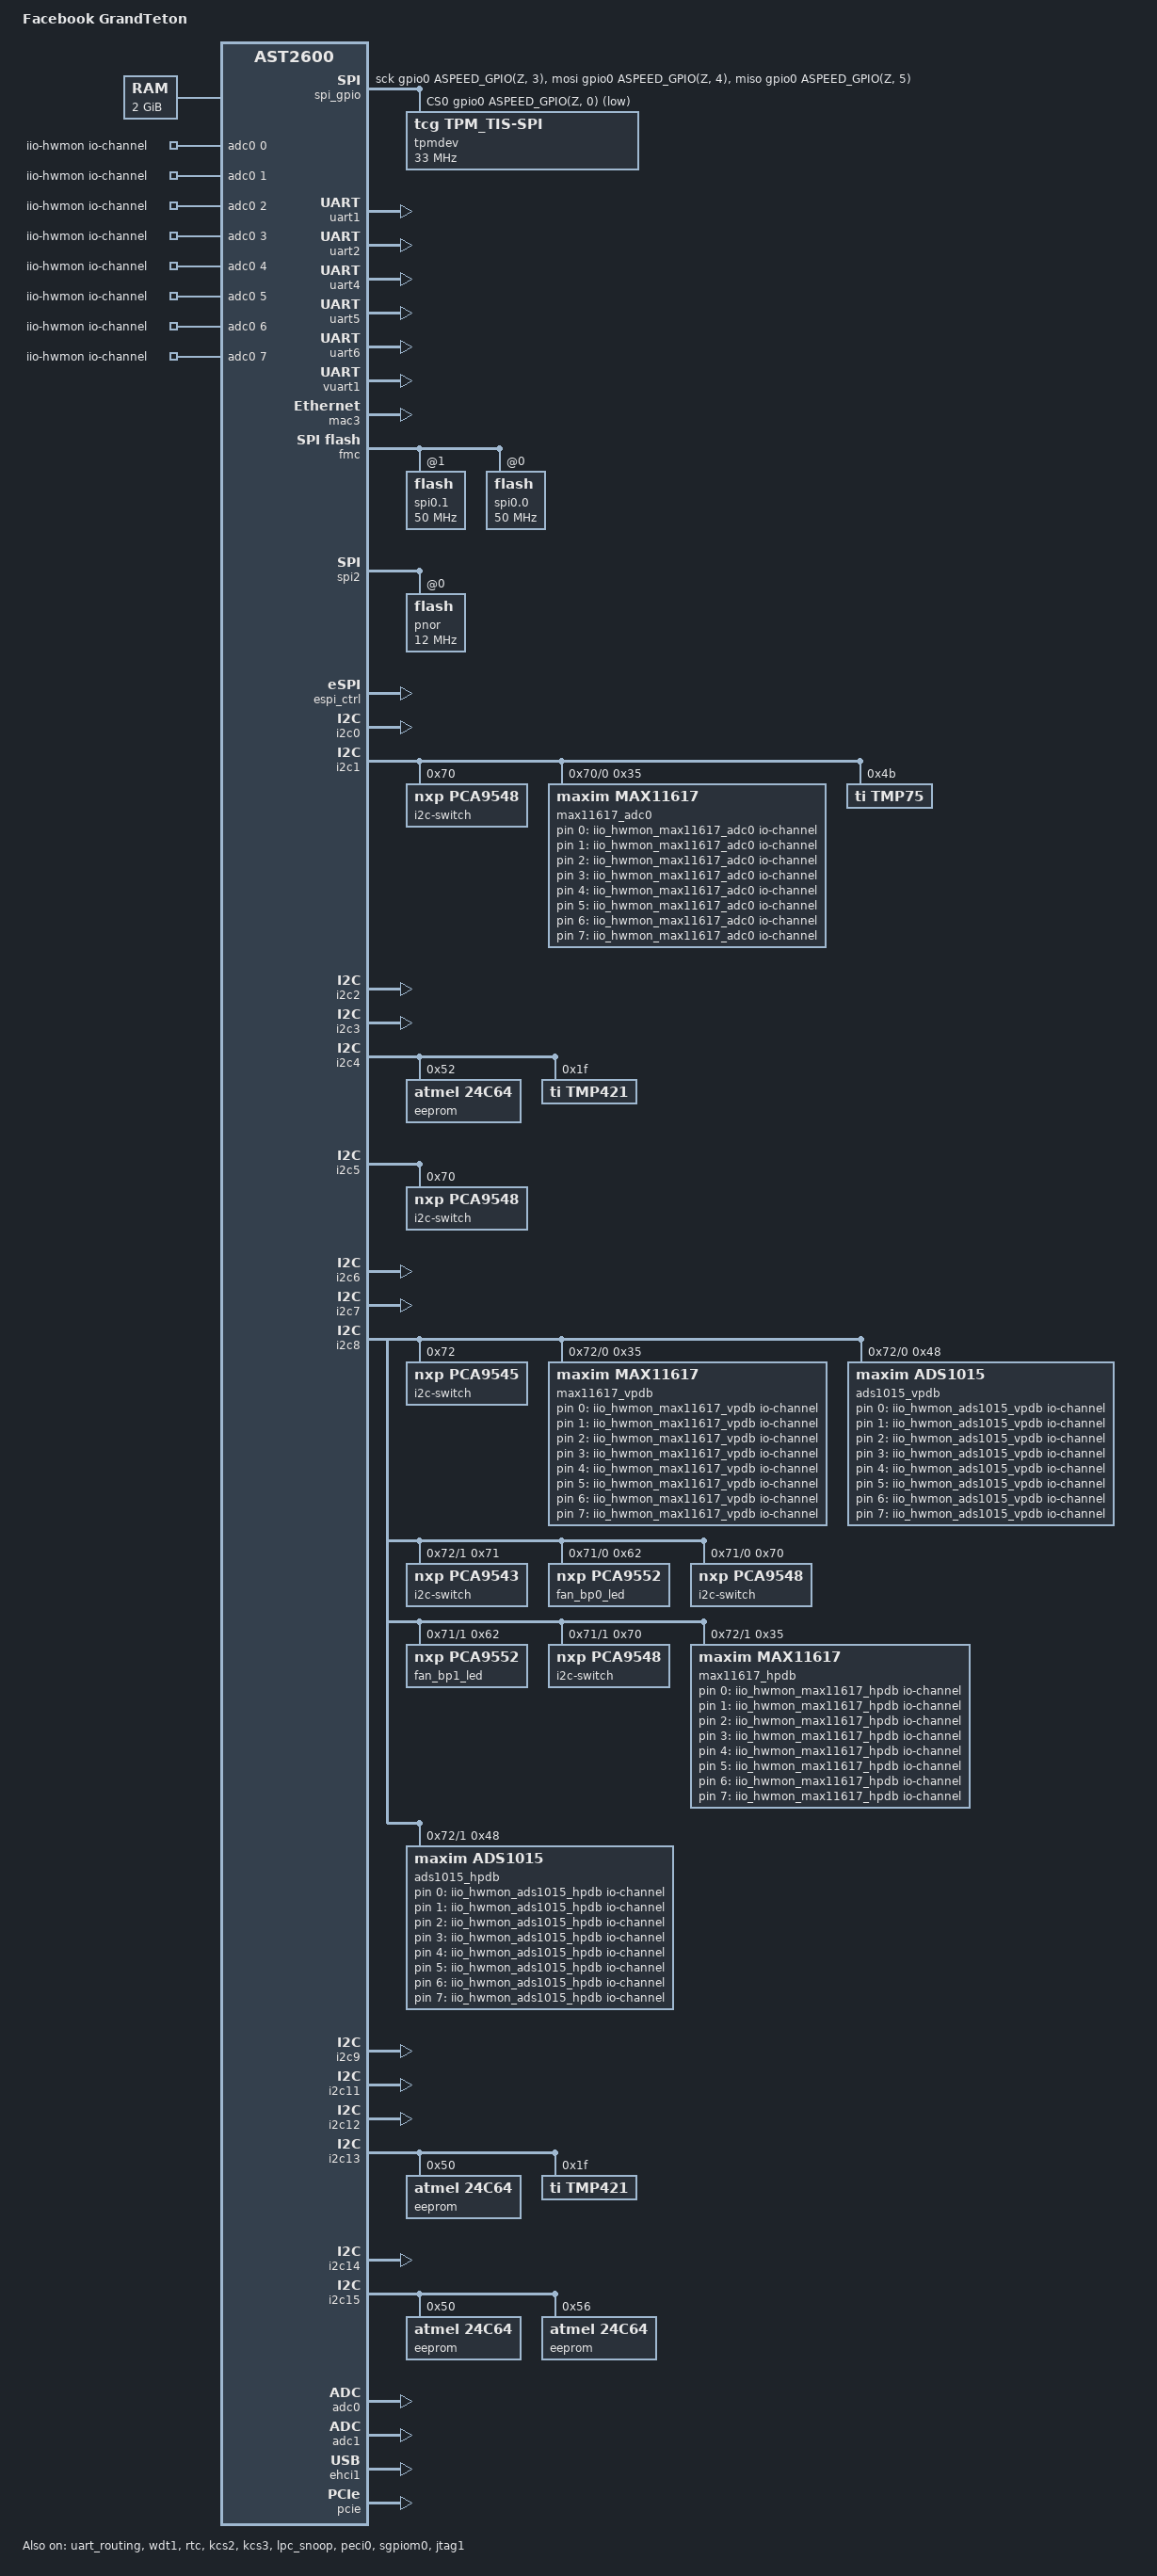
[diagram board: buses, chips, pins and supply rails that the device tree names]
// SPDX-License-Identifier: GPL-2.0-or-later
// Copyright (c) 2020 Facebook Inc.

/dts-v1/;

#include "aspeed-g6.dtsi"
#include <dt-bindings/gpio/aspeed-gpio.h>
#include <dt-bindings/leds/leds-pca955x.h>

/ {
	model = "Facebook GrandTeton";
	compatible = "facebook,grandteton", "aspeed,ast2600";

	aliases {
		serial0 = &uart5;
		serial1 = &uart1;

		spi1 = &spi_gpio;

		i2c20 = &imux20;
		i2c21 = &imux21;
		i2c22 = &imux22;
		i2c23 = &imux23;
		i2c24 = &imux24;
		i2c25 = &imux25;
		i2c26 = &imux26;
		i2c27 = &imux27;
		i2c28 = &imux28;
		i2c29 = &imux29;
		i2c30 = &imux30;
		i2c31 = &imux31;
		i2c32 = &imux32;
		i2c33 = &imux33;
		i2c34 = &imux34;
		i2c35 = &imux35;
		i2c36 = &imux36;
		i2c37 = &imux37;
		i2c38 = &imux38;
		i2c39 = &imux39;
		i2c40 = &imux40;
		i2c41 = &imux41;
		i2c42 = &imux42;
		i2c43 = &imux43;
		i2c44 = &imux44;
		i2c45 = &imux45;
		i2c46 = &imux46;
		i2c47 = &imux47;
		i2c48 = &imux48;
		i2c49 = &imux49;
		i2c50 = &imux50;
		i2c51 = &imux51;
		i2c52 = &imux52;
		i2c53 = &imux53;
		i2c54 = &imux54;
		i2c55 = &imux55;
		i2c56 = &imux56;
		i2c57 = &imux57;
	};

	chosen {
		stdout-path = &uart5;
		bootargs = "console=ttyS0,57600n8 root=/dev/ram rw vmalloc=384M";
	};

	memory@80000000 {
		device_type = "memory";
		reg = <0x80000000 0x80000000>;
	};

	iio-hwmon {
		compatible = "iio-hwmon";
		io-channels = <&adc0 0>, <&adc0 1>, <&adc0 2>, <&adc0 3>,
			<&adc0 4>, <&adc0 5>, <&adc0 6>, <&adc0 7>,
			<&adc1 2>;
	};

	iio_hwmon_max11617_adc0 {
		compatible = "iio-hwmon";
		io-channels = <&max11617_adc0 0>, <&max11617_adc0 1>, <&max11617_adc0 2>, <&max11617_adc0 3>,
			<&max11617_adc0 4>, <&max11617_adc0 5>, <&max11617_adc0 6>, <&max11617_adc0 7>,
			<&max11617_adc0 8>, <&max11617_adc0 9>, <&max11617_adc0 10>, <&max11617_adc0 11>,
			<&max11617_adc0 12>, <&max11617_adc0 13>, <&max11617_adc0 14>, <&max11617_adc0 15>,
			<&max11617_adc0 16>, <&max11617_adc0 17>, <&max11617_adc0 18>, <&max11617_adc0 19>,
			<&max11617_adc0 20>, <&max11617_adc0 21>, <&max11617_adc0 22>, <&max11617_adc0 23>;
	};

	iio_hwmon_max11617_hpdb {
		compatible = "iio-hwmon";
		io-channels = <&max11617_hpdb 0>, <&max11617_hpdb 1>, <&max11617_hpdb 2>, <&max11617_hpdb 3>,
			<&max11617_hpdb 4>, <&max11617_hpdb 5>, <&max11617_hpdb 6>, <&max11617_hpdb 7>,
			<&max11617_hpdb 8>, <&max11617_hpdb 9>, <&max11617_hpdb 10>, <&max11617_hpdb 11>,
			<&max11617_hpdb 12>, <&max11617_hpdb 13>, <&max11617_hpdb 14>, <&max11617_hpdb 15>,
			<&max11617_hpdb 16>, <&max11617_hpdb 17>, <&max11617_hpdb 18>, <&max11617_hpdb 19>,
			<&max11617_hpdb 20>, <&max11617_hpdb 21>, <&max11617_hpdb 22>, <&max11617_hpdb 23>;
	};

	iio_hwmon_max11617_vpdb {
		compatible = "iio-hwmon";
		io-channels = <&max11617_vpdb 0>, <&max11617_vpdb 1>, <&max11617_vpdb 2>, <&max11617_vpdb 3>,
			<&max11617_vpdb 4>, <&max11617_vpdb 5>, <&max11617_vpdb 6>, <&max11617_vpdb 7>,
			<&max11617_vpdb 8>, <&max11617_vpdb 9>, <&max11617_vpdb 10>, <&max11617_vpdb 11>,
			<&max11617_vpdb 12>, <&max11617_vpdb 13>, <&max11617_vpdb 14>, <&max11617_vpdb 15>,
			<&max11617_vpdb 16>, <&max11617_vpdb 17>, <&max11617_vpdb 18>, <&max11617_vpdb 19>,
			<&max11617_vpdb 20>, <&max11617_vpdb 21>, <&max11617_vpdb 22>, <&max11617_vpdb 23>;
	};

	iio_hwmon_ads1015_vpdb {
		compatible = "iio-hwmon";
		io-channels = <&ads1015_vpdb 0>, <&ads1015_vpdb 1>, <&ads1015_vpdb 2>, <&ads1015_vpdb 3>,
			<&ads1015_vpdb 4>, <&ads1015_vpdb 5>, <&ads1015_vpdb 6>, <&ads1015_vpdb 7>;
	};

	iio_hwmon_ads1015_hpdb {
		compatible = "iio-hwmon";
		io-channels = <&ads1015_hpdb 0>, <&ads1015_hpdb 1>, <&ads1015_hpdb 2>, <&ads1015_hpdb 3>,
			<&ads1015_hpdb 4>, <&ads1015_hpdb 5>, <&ads1015_hpdb 6>, <&ads1015_hpdb 7>;
	};

	spi_gpio: spi-gpio {
		status = "okay";
		compatible = "spi-gpio";
		#address-cells = <1>;
		#size-cells = <0>;

		gpio-sck = <&gpio0 ASPEED_GPIO(Z, 3) GPIO_ACTIVE_HIGH>;
		gpio-mosi = <&gpio0 ASPEED_GPIO(Z, 4) GPIO_ACTIVE_HIGH>;
		gpio-miso = <&gpio0 ASPEED_GPIO(Z, 5) GPIO_ACTIVE_HIGH>;
		num-chipselects = <1>;
		cs-gpios = <&gpio0 ASPEED_GPIO(Z, 0) GPIO_ACTIVE_LOW>;

		tpmdev@0 {
			compatible = "tcg,tpm_tis-spi";
			spi-max-frequency = <33000000>;
			reg = <0>;
		};
	};


};

&uart1 {
	status = "okay";
};

&uart2 {
	// SOL Host Console
	status = "okay";
	pinctrl-0 = <>;

};

&uart4 {
	// SOL BMC Console
	status = "okay";
	pinctrl-0 = <>;
};

&uart5 {
	status = "okay";
	/* Workaround for AST2600 A0 */
	compatible = "snps,dw-apb-uart";
};

&uart6 {
	// SWB Console
	status = "okay";
};

&uart_routing {
	status = "okay";
};

&vuart1 {
	status = "okay";
	virtual;
	port=<0x3e8>;
	sirq = <7>;
	sirq-polarity = <0>;
	dma-mode;
	dma-channel = <12>;
};

&wdt1 {
	status = "okay";
	pinctrl-names = "default";
	pinctrl-0 = <&pinctrl_wdtrst1_default>;
	aspeed,reset-type = "soc";
	aspeed,external-signal;
	aspeed,ext-push-pull;
	aspeed,ext-active-high;
	aspeed,ext-pulse-duration = <256>;
};

&mac3 {
	status = "okay";

	pinctrl-names = "default";
	pinctrl-0 = <&pinctrl_rmii4_default>;
	no-hw-checksum;
	use-ncsi;
	ncsi-ctrl,start-redo-probe;
	ncsi-ctrl,no-channel-monitor;
	mlx,multi-host;
	ncsi-package = <1>;
	ncsi-channel = <1>;
	ncsi-rexmit = <1>;
	ncsi-timeout = <2>;
};

&rtc {
	status = "okay";
};

&fmc {
	status = "okay";
	flash@0 {
		reg = < 1 >;
		status = "okay";
		m25p,fast-read;
		label = "spi0.1";
		spi-max-frequency = <50000000>;
#include "facebook-bmc-vboot2-flash1-32MBdata0-layout.dtsi"
	};
	flash@1 {
		reg = < 0 >;
		status = "okay";
		m25p,fast-read;
		label = "spi0.0";
		spi-max-frequency = <50000000>;
#include "facebook-bmc-vboot2-flash0-layout.dtsi"
	};
};

&spi2 {
	status = "okay";
	pinctrl-names = "default";
	pinctrl-0 = <&pinctrl_spi2_default>;

	flash@0 {
		status = "okay";
		m25p,fast-read;
		label = "pnor";
		spi-max-frequency = <12000000>;
		spi-tx-bus-width = <2>;
		spi-rx-bus-width = <2>;
	};
};

&kcs2 {
	kcs_addr = <0xca8>;
	status = "okay";
};

&kcs3 {
	kcs_addr = <0xca2>;
	status = "okay";
};

&lpc_snoop {
	status = "okay";
	snoop-ports = <0x80>;
};

//eSPI
&espi_ctrl {
	status = "okay";

	perif,memcyc-src-addr = <0x98000000>;
	perif,memcyc-size = <0x10000>;
	perif,dma-mode;

	oob,dma-mode;
	oob,dma-tx-desc-num = <0x2>;
	oob,dma-rx-desc-num = <0x8>;

	flash,dma-mode;
	flash,safs-mode = <0x2>;
};

&peci0 {
	status = "okay";
	clock-frequency = <1000000>;
};

&sgpiom0 {
	status = "okay";
	gpio-ranges = <&pinctrl 0 244 128>;
	ngpios = <128>;
	base = <244>;
	bus-frequency = <2000000>;
};

&i2c0 {
	status = "okay";
};

&i2c1 {
	status = "okay";
	i2c-switch@70 {
		compatible = "nxp,pca9548";
		#address-cells = <1>;
		#size-cells = <0>;
		reg = <0x70>;
		imux20: i2c@0 {
			#address-cells = <1>;
			#size-cells = <0>;
			reg = <0>;
			max11617_adc0:adc@35 {
				compatible = "maxim,max11617";
				reg = <0x35>;
				#io-channel-cells = <1>;
			};
		};
		imux21: i2c@1 {
			#address-cells = <1>;
			#size-cells = <0>;
			reg = <1>;
		};
		imux22: i2c@2 {
			#address-cells = <1>;
			#size-cells = <0>;
			reg = <2>;
		};
		imux23: i2c@3 {
			#address-cells = <1>;
			#size-cells = <0>;
			reg = <3>;
		};
		imux24: i2c@4 {
			#address-cells = <1>;
			#size-cells = <0>;
			reg = <4>;
		};
		imux25: i2c@5 {
			#address-cells = <1>;
			#size-cells = <0>;
			reg = <5>;
		};
		imux26: i2c@6 {
			#address-cells = <1>;
			#size-cells = <0>;
			reg = <6>;
		};
		imux27: i2c@7 {
			#address-cells = <1>;
			#size-cells = <0>;
			reg = <7>;
		};
	};
	tmp75@4B {
		compatible = "ti,tmp75";
		reg = <0x4B>;
	};
};

&i2c2 {
	status = "okay";
};

//To BIC
&i2c3 {
	status = "okay";
	multi-master;
	bus-frequency = <400000>;
	aspeed,hw-timeout-ms = <1000>;
	base-clock-divisor = <4>;
	tck-high = <5>;
	tck-low = <10>;
};

&i2c4 {
	status = "okay";
	multi-master;
	aspeed,hw-timeout-ms = <1000>;
	// NIC1 FRU
	eeprom@52 {
		compatible = "atmel,24c64";
		reg = <0x52>;
	};
	tmp421@1F {
		compatible = "ti,tmp421";
		reg = <0x1F>;
	};
};

&i2c5 {
	status = "okay";
	i2c-switch@70 {
		compatible = "nxp,pca9548";
		#address-cells = <1>;
		#size-cells = <0>;
		reg = <0x70>;
		imux28: i2c@0 {
			#address-cells = <1>;
			#size-cells = <0>;
			reg = <0>;
		};
		imux29: i2c@1 {
			#address-cells = <1>;
			#size-cells = <0>;
			reg = <1>;
		};
		imux30: i2c@2 {
			#address-cells = <1>;
			#size-cells = <0>;
			reg = <2>;
		};
		imux31: i2c@3 {
			#address-cells = <1>;
			#size-cells = <0>;
			reg = <3>;
		};
		imux32: i2c@4 {
			#address-cells = <1>;
			#size-cells = <0>;
			reg = <4>;
		};
		imux33: i2c@5 {
			#address-cells = <1>;
			#size-cells = <0>;
			reg = <5>;
		};
		imux34: i2c@6 {
			#address-cells = <1>;
			#size-cells = <0>;
			reg = <6>;
		};
		imux35: i2c@7 {
			#address-cells = <1>;
			#size-cells = <0>;
			reg = <7>;
		};
	};
};

//To Me
&i2c6 {
	status = "okay";
	multi-master;
	bus-frequency = <400000>;
	aspeed,hw-timeout-ms = <1000>;
};

// To FPGA
&i2c7 {
	status = "okay";
};

// To PDB
&i2c8 {
	status = "okay";
	i2c-switch@72 {
		compatible = "nxp,pca9545";
		#address-cells = <1>;
		#size-cells = <0>;
		reg = <0x72>;
		imux36: i2c@0 {
			#address-cells = <1>;
			#size-cells = <0>;
			reg = <0>;
			max11617_vpdb:adc@35 {
				compatible = "maxim,max11617";
				reg = <0x35>;
				#io-channel-cells = <1>;
			};
			ads1015_vpdb:adc@48 {
				compatible = "maxim,ads1015";
				reg = <0x48>;
				#io-channel-cells = <1>;
			};
		};
		imux37: i2c@1 {
			#address-cells = <1>;
			#size-cells = <0>;
			reg = <1>;
			status = "okay";
			i2c-switch@71 {
				compatible = "nxp,pca9543";
				#address-cells = <1>;
				#size-cells = <0>;
				reg = <0x71>;
				imux40: i2c@0 {
					#address-cells = <1>;
					#size-cells = <0>;
					reg = <0>;
					fan_bp0_led: pca9552@62 {
						compatible = "nxp,pca9552";
						reg = <0x62>;
						#address-cells = <1>;
						#size-cells = <0>;
						gpio-controller;
						#gpio-cells = <2>;
						gpio@0 {
							reg = <0>;
							type = <PCA955X_TYPE_GPIO>;
						};
						gpio@1 {
							reg = <1>;
							type = <PCA955X_TYPE_GPIO>;
						};
						gpio@2 {
							reg = <2>;
							type = <PCA955X_TYPE_GPIO>;
						};
						gpio@3 {
							reg = <3>;
							type = <PCA955X_TYPE_GPIO>;
						};
						gpio@4 {
							reg = <4>;
							type = <PCA955X_TYPE_GPIO>;
						};
						gpio@5 {
							reg = <5>;
							type = <PCA955X_TYPE_GPIO>;
						};
						gpio@6 {
							reg = <6>;
							type = <PCA955X_TYPE_GPIO>;
						};
						gpio@7 {
							reg = <7>;
							type = <PCA955X_TYPE_GPIO>;
						};
						gpio@8 {
							reg = <8>;
							type = <PCA955X_TYPE_GPIO>;
						};
						gpio@9 {
							reg = <9>;
							type = <PCA955X_TYPE_GPIO>;
						};
						gpio@10 {
							reg = <10>;
							type = <PCA955X_TYPE_GPIO>;
						};
						gpio@11 {
							reg = <11>;
							type = <PCA955X_TYPE_GPIO>;
						};
						gpio@12 {
							reg = <12>;
							type = <PCA955X_TYPE_GPIO>;
						};
						gpio@13 {
							reg = <13>;
							type = <PCA955X_TYPE_GPIO>;
						};
						gpio@14 {
							reg = <14>;
							type = <PCA955X_TYPE_GPIO>;
						};
						gpio@15 {
							reg = <15>;
							type = <PCA955X_TYPE_GPIO>;
						};
					};
					i2c-switch@70 {
						compatible = "nxp,pca9548";
						#address-cells = <1>;
						#size-cells = <0>;
						reg = <0x70>;
						imux42: i2c@0 {
							#address-cells = <1>;
							#size-cells = <0>;
							reg = <0>;
						};
						imux43: i2c@1 {
							#address-cells = <1>;
							#size-cells = <0>;
							reg = <1>;
						};
						imux44: i2c@2 {
							#address-cells = <1>;
							#size-cells = <0>;
							reg = <2>;
						};
						imux45: i2c@3 {
							#address-cells = <1>;
							#size-cells = <0>;
							reg = <3>;
						};
						imux46: i2c@4 {
							#address-cells = <1>;
							#size-cells = <0>;
							reg = <4>;
						};
						imux47: i2c@5 {
							#address-cells = <1>;
							#size-cells = <0>;
							reg = <5>;
						};
						imux48: i2c@6 {
							#address-cells = <1>;
							#size-cells = <0>;
							reg = <6>;
						};
						imux49: i2c@7 {
							#address-cells = <1>;
							#size-cells = <0>;
							reg = <7>;
						};
					};
				};
				imux41: i2c@1 {
					#address-cells = <1>;
					#size-cells = <0>;
					reg = <1>;
					fan_bp1_led: pca9552@62 {
						compatible = "nxp,pca9552";
						reg = <0x62>;
						#address-cells = <1>;
						#size-cells = <0>;
						gpio-controller;
						#gpio-cells = <2>;
						gpio@0 {
							reg = <0>;
							type = <PCA955X_TYPE_GPIO>;
						};
						gpio@1 {
							reg = <1>;
							type = <PCA955X_TYPE_GPIO>;
						};
						gpio@2 {
							reg = <2>;
							type = <PCA955X_TYPE_GPIO>;
						};
						gpio@3 {
							reg = <3>;
							type = <PCA955X_TYPE_GPIO>;
						};
						gpio@4 {
							reg = <4>;
							type = <PCA955X_TYPE_GPIO>;
						};
						gpio@5 {
							reg = <5>;
							type = <PCA955X_TYPE_GPIO>;
						};
						gpio@6 {
							reg = <6>;
							type = <PCA955X_TYPE_GPIO>;
						};
						gpio@7 {
							reg = <7>;
							type = <PCA955X_TYPE_GPIO>;
						};
						gpio@8 {
							reg = <8>;
							type = <PCA955X_TYPE_GPIO>;
						};
						gpio@9 {
							reg = <9>;
							type = <PCA955X_TYPE_GPIO>;
						};
						gpio@10 {
							reg = <10>;
							type = <PCA955X_TYPE_GPIO>;
						};
						gpio@11 {
							reg = <11>;
							type = <PCA955X_TYPE_GPIO>;
						};
						gpio@12 {
							reg = <12>;
							type = <PCA955X_TYPE_GPIO>;
						};
						gpio@13 {
							reg = <13>;
							type = <PCA955X_TYPE_GPIO>;
						};
						gpio@14 {
							reg = <14>;
							type = <PCA955X_TYPE_GPIO>;
						};
						gpio@15 {
							reg = <15>;
							type = <PCA955X_TYPE_GPIO>;
						};
					};
					i2c-switch@70 {
						compatible = "nxp,pca9548";
						#address-cells = <1>;
						#size-cells = <0>;
						reg = <0x70>;
						imux50: i2c@0 {
							#address-cells = <1>;
							#size-cells = <0>;
							reg = <0>;
						};
						imux51: i2c@1 {
							#address-cells = <1>;
							#size-cells = <0>;
							reg = <1>;
						};
						imux52: i2c@2 {
							#address-cells = <1>;
							#size-cells = <0>;
							reg = <2>;
						};
						imux53: i2c@3 {
							#address-cells = <1>;
							#size-cells = <0>;
							reg = <3>;
						};
						imux54: i2c@4 {
							#address-cells = <1>;
							#size-cells = <0>;
							reg = <4>;
						};
						imux55: i2c@5 {
							#address-cells = <1>;
							#size-cells = <0>;
							reg = <5>;
						};
						imux56: i2c@6 {
							#address-cells = <1>;
							#size-cells = <0>;
							reg = <6>;
						};
						imux57: i2c@7 {
							#address-cells = <1>;
							#size-cells = <0>;
							reg = <7>;
						};
					};
				};
			};
			max11617_hpdb:adc@35 {
				compatible = "maxim,max11617";
				reg = <0x35>;
				#io-channel-cells = <1>;
			};
			ads1015_hpdb:adc@48 {
				compatible = "maxim,ads1015";
				reg = <0x48>;
				#io-channel-cells = <1>;
			};
		};
		imux38: i2c@2 {
			#address-cells = <1>;
			#size-cells = <0>;
			reg = <2>;
		};
		imux39: i2c@3 {
			#address-cells = <1>;
			#size-cells = <0>;
			reg = <3>;
		};
	};
};

//To GPU
&i2c9 {
	status = "okay";
};

// To GPU
&i2c11 {
	status = "okay";
	multi-master;
	aspeed,hw-timeout-ms = <1000>;
};

&i2c12 {
	status = "okay";
};

// TO OCP NIC
&i2c13 {
	status = "okay";
	// NIC FRU
	eeprom@50 {
		compatible = "atmel,24c64";
		reg = <0x50>;
	};
	tmp421@1F {
		compatible = "ti,tmp421";
		reg = <0x1F>;
	};
};

// To Debug card
&i2c14 {
	status = "okay";
	multi-master;
	aspeed,hw-timeout-ms = <1000>;
};

&i2c15 {
	status = "okay";
	// SCM FRU
	eeprom@50 {
		compatible = "atmel,24c64";
		reg = <0x50>;
	};
	// BSM FRU
	eeprom@56 {
		compatible = "atmel,24c64";
		reg = <0x56>;
	};

};

&adc0 {
	ref_voltage = <2500>;
	status = "okay";

	pinctrl-0 = <&pinctrl_adc0_default &pinctrl_adc1_default
		&pinctrl_adc2_default &pinctrl_adc3_default
		&pinctrl_adc4_default &pinctrl_adc5_default
		&pinctrl_adc6_default &pinctrl_adc7_default>;
};

&adc1 {
	ref_voltage = <2500>;
	status = "okay";

	pinctrl-names = "default";
	pinctrl-0 = <&pinctrl_adc10_default>;
};

&jtag1 {
	status = "okay";
	pinctrl-names = "default";
	pinctrl-0 = <&pinctrl_jtagm_default>;
};

&ehci1 {
	status = "okay";
};

&pcie {
	status = "okay";
};

/* override setup mtd parttion layout */
&fitro {
	reg = <0x1A0000 0x3E60000>;
};

&flash0 {
	reg = <0x0 0x8000000>;
};

&fit {
	reg = <0x1A0000 0x3E60000>;
};

&data0 {
	reg = <0x6000000 0x2000000>;
};
